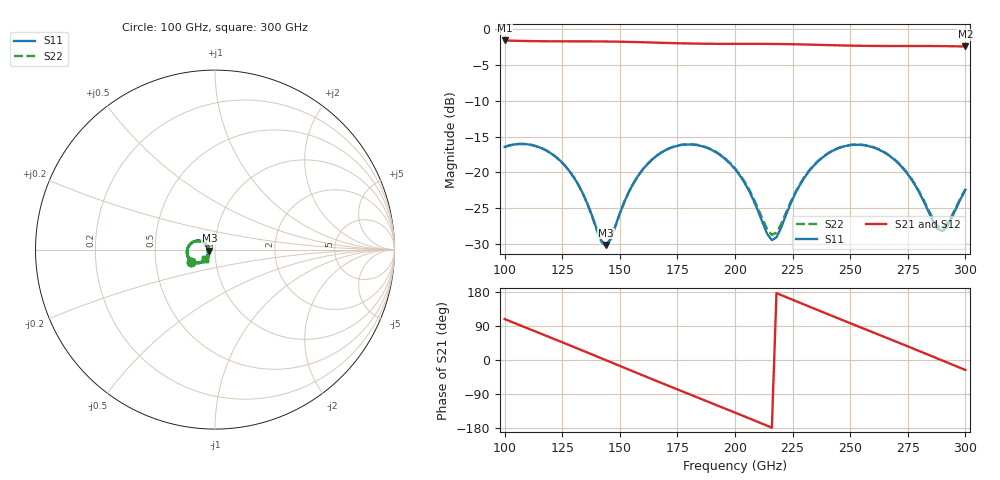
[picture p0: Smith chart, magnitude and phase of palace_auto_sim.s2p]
#  GHZ S DB R 50
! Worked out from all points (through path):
!   101 points, 100 GHz to 300 GHz, reference 50 ohm
!   highest |S21| = -1.60 dB at 100 GHz (marker M1); lowest = -2.4 dB at 300 GHz (marker M2)
!   group delay of S21, straight-line fit = 6.87 ps
!   lowest |S11| = -30.1 dB at 144 GHz (marker M3), VSWR 1.06, Z = 47 - j0.531 ohm
!   |S11| at or under -10 dB: start of sweep to end of sweep
!   |S22| runs from -30.3 to -16.0 dB; largest |S21 - S12| = 1.4e-13
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100  -16.45 -153.5  -1.60 108.1  -1.60 108.1  -16.44 -153.4
108  -16.03 -170.3  -1.66 88.4  -1.66 88.4  -16.02 -170.1
116  -16.61 173.4  -1.70 68.9  -1.70 68.9  -16.60 173.5
126  -18.99 155.0  -1.72 44.3  -1.72 44.3  -18.98 155.2
134  -22.96 146.7  -1.72 24.5  -1.72 24.5  -22.97 146.8
144  -30.13 -169.6  -1.74 -0.5  -1.74 -0.5  -30.28 -168.8
156  -21.47 -131.4  -1.81 -30.6  -1.81 -30.6  -21.46 -130.3
168  -17.24 -149.5  -1.92 -60.4  -1.92 -60.4  -17.21 -148.4
176  -16.21 -164.9  -1.99 -80.1  -1.99 -80.1  -16.18 -163.7
184  -16.22 179.4  -2.04 -99.6  -2.04 -99.6  -16.17 -179.3
200  -19.53 151.3  -2.07 -138.8  -2.07 -138.8  -19.43 153.3
208  -23.84 146.6  -2.07 -158.6  -2.07 -158.6  -23.59 149.3
216  -29.44 -177.5  -2.08 -178.6  -2.08 -178.6  -28.70 -176.9
218  -29.06 -159.9  -2.09 176.4  -2.09 176.4  -28.40 -160.9
224  -24.46 -134.9  -2.12 161.4  -2.12 161.4  -24.24 -136.5
234  -19.12 -140.3  -2.19 136.5  -2.19 136.5  -19.05 -140.8
250  -16.20 -168.2  -2.31 97.2  -2.31 97.2  -16.16 -168.0
258  -16.33 176.8  -2.35 77.6  -2.35 77.6  -16.29 177.3
268  -17.91 159.4  -2.37 53.2  -2.37 53.2  -17.86 160.3
280  -22.81 148.6  -2.37 23.5  -2.37 23.5  -22.68 150.0
290  -28.18 -172.4  -2.39 -1.4  -2.39 -1.4  -27.79 -172.3
300  -22.43 -138.4  -2.44 -26.3  -2.44 -26.3  -22.33 -139.0
